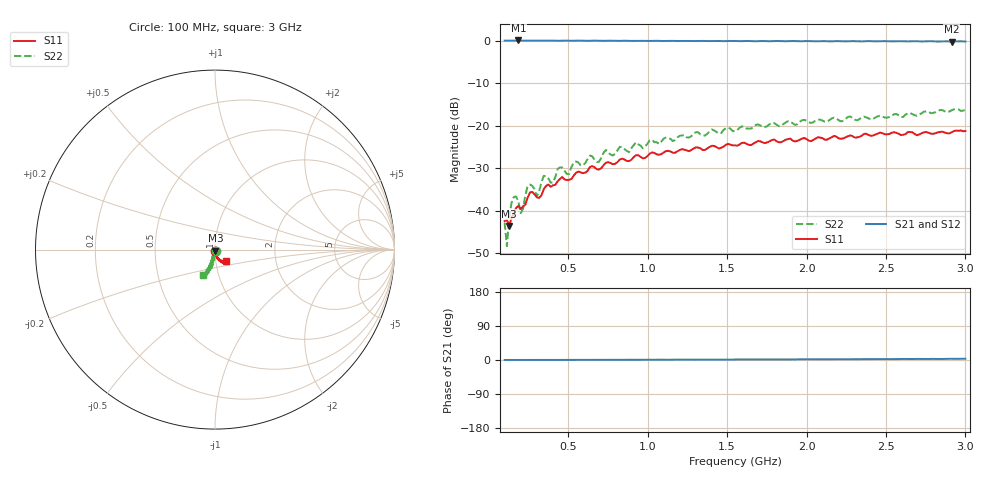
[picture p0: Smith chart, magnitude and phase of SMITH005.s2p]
!Agilent N9914A: A.06.08
!Date: Friday, 03 December 2010 09:54:41
!Model: N9914A
!Serial: MY52401117
!GPS Latitude:
!GPS Longitude:
!GPS TimeStamp: 0001-01-01 00:00:00Z
!GPS Seconds Since Last Read: 0
!CHECKSUM:1664103457
!Correction: S11(ON U)S21(ON U)S12(ON U)S22(ON U)
!S2P File: Measurements:S11,S21,S12,S22:
# Hz S RI R 50
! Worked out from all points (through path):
!   201 points, 100 MHz to 3 GHz, reference 50 ohm
!   highest |S21| = 0.02 dB at 187 MHz (marker M1); lowest = -0.2 dB at 2.913 GHz (marker M2)
!   lowest |S11| = -43.5 dB at 129 MHz (marker M3), VSWR 1.01, Z = 50.2 - j0.628 ohm
!   |S11| at or under -10 dB: start of sweep to end of sweep
!   |S22| runs from -48.3 to -16.1 dB; largest |S21 - S12| = 0.0034
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1e8  0.00196 -0.00731  1 0.00152  0.9981 0.00115  0.00353 -0.00634
1.145e8  0.00294 -0.00724  1 0.00308  0.998 0.00265  -0.000217 -0.00384
1.29e8  0.00225 -0.00625  1 0.00116  0.9975 0.0025  -0.00658 -0.00518
1.58e8  -0.00156 -0.00925  0.9986 0.00151  0.9971 0.00152  -0.00789 -0.0122
1.87e8  -0.00032 -0.0114  1.003 0.00124  1.001 0.00171  -0.000886 -0.0127
2.015e8  0.00169 -0.0103  1.001 0.0034  0.9998 0.00352  -0.00167 -0.00923
2.45e8  0.000336 -0.0142  0.9972 0.000689  0.996 0.00103  -0.0103 -0.0166
3.03e8  0.00162 -0.0143  0.9997 0.00271  0.9981 0.00331  -0.000772 -0.0148
3.465e8  0.00122 -0.018  0.9967 0.00217  0.995 0.00208  -0.0109 -0.0233
4.045e8  0.00384 -0.0195  0.9981 0.00403  0.9965 0.00447  -0.00528 -0.0209
4.48e8  0.00264 -0.0235  0.9965 0.00243  0.9953 0.00279  -0.00888 -0.0311
5.06e8  0.00347 -0.0229  0.9954 0.00675  0.9938 0.00678  -0.00941 -0.0254
5.35e8  0.00406 -0.0256  0.9947 0.00484  0.9932 0.00471  -0.0127 -0.0348
5.93e8  0.00653 -0.0269  0.9961 0.00652  0.9946 0.00649  -0.00604 -0.0336
6.945e8  0.00721 -0.0297  0.9944 0.00906  0.9929 0.00921  -0.00988 -0.0364
7.38e8  0.00705 -0.0361  0.9947 0.00625  0.9932 0.00639  -0.012 -0.0504
1.0715e9  0.0135 -0.0435  0.9912 0.0148  0.9894 0.0151  -0.0126 -0.0598
1.55e9  0.0223 -0.0543  0.986 0.0219  0.9848 0.0218  -0.02 -0.0838
2.043e9  0.0285 -0.0619  0.9801 0.0305  0.9789 0.0306  -0.0367 -0.1035
2.5215e9  0.0397 -0.0693  0.9786 0.0428  0.9781 0.0432  -0.0436 -0.1185
2.913e9  0.0537 -0.064  0.9722 0.0529  0.9709 0.0536  -0.0627 -0.1383
3e9  0.0605 -0.0619  0.973 0.0581  0.9732 0.0588  -0.0671 -0.1389
